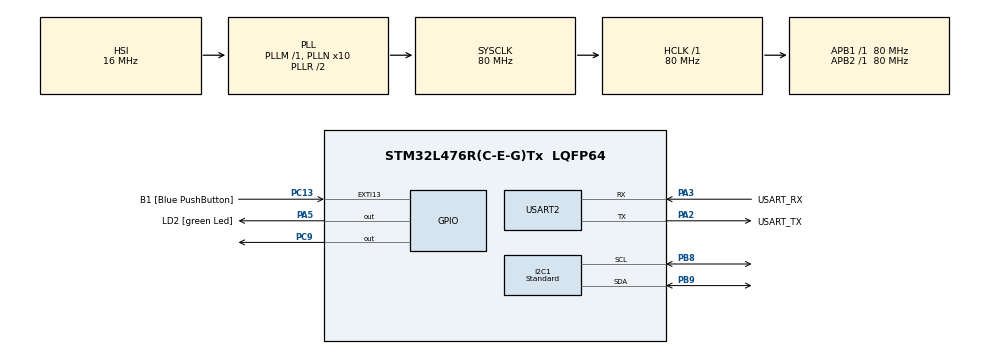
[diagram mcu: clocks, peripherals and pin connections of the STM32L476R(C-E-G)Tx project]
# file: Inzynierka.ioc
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I2C1.I2C_Speed_Mode=I2C_Standard
I2C1.Speed=60
I2C1.Timing=0x2060B8FE
Mcu.Family=STM32L4
Mcu.Name=STM32L476R(C-E-G)Tx
Mcu.Package=LQFP64
NVIC.PriorityGroup=NVIC_PRIORITYGROUP_4
NVIC.USART2_IRQn=true\:0\:0\:false\:false\:true\:true\:true\:true
PA13\ (JTMS-SWDIO).GPIO_Label=TMS
PA13\ (JTMS-SWDIO).Mode=Serial_Wire
PA13\ (JTMS-SWDIO).Signal=SYS_JTMS-SWDIO
PA14\ (JTCK-SWCLK).GPIO_Label=TCK
PA14\ (JTCK-SWCLK).Mode=Serial_Wire
PA14\ (JTCK-SWCLK).Signal=SYS_JTCK-SWCLK
PA2.GPIO_Label=USART_TX
PA2.GPIO_Mode=GPIO_MODE_AF_PP
PA2.GPIO_PuPd=GPIO_NOPULL
PA2.GPIO_Speed=GPIO_SPEED_FREQ_VERY_HIGH
PA2.Mode=Asynchronous
PA2.Signal=USART2_TX
PA3.GPIO_Label=USART_RX
PA3.GPIO_Mode=GPIO_MODE_AF_PP
PA3.GPIO_PuPd=GPIO_NOPULL
PA3.GPIO_Speed=GPIO_SPEED_FREQ_VERY_HIGH
PA3.Mode=Asynchronous
PA3.Signal=USART2_RX
PA5.GPIO_Label=LD2 [green Led]
PA5.GPIO_ModeDefaultOutputPP=GPIO_MODE_OUTPUT_PP
PA5.GPIO_PuPd=GPIO_NOPULL
PA5.GPIO_Speed=GPIO_SPEED_FREQ_LOW
PA5.Signal=GPIO_Output
PB3\ (JTDO-TRACESWO).GPIO_Label=SWO
PB3\ (JTDO-TRACESWO).Signal=SYS_JTDO-SWO
PB8.Mode=I2C
PB8.Signal=I2C1_SCL
PB9.Mode=I2C
PB9.Signal=I2C1_SDA
PC13.GPIO_Label=B1 [Blue PushButton]
PC13.GPIO_ModeDefaultEXTI=GPIO_MODE_IT_FALLING
PC13.GPIO_PuPd=GPIO_NOPULL
PC13.Signal=GPXTI13
PC14-OSC32_IN\ (PC14).Mode=LSE-External-Oscillator
PC14-OSC32_IN\ (PC14).Signal=RCC_OSC32_IN
PC15-OSC32_OUT\ (PC15).Mode=LSE-External-Oscillator
PC15-OSC32_OUT\ (PC15).Signal=RCC_OSC32_OUT
PC9.Signal=GPIO_Output
PH0-OSC_IN\ (PH0).Signal=RCC_OSC_IN
PH1-OSC_OUT\ (PH1).Signal=RCC_OSC_OUT
ProjectManager.HeapSize=0x200
ProjectManager.StackSize=0x400
ProjectManager.TargetToolchain=STM32CubeIDE
RCC.ADCFreq_Value=64000000
RCC.AHBFreq_Value=80000000
RCC.APB1Freq_Value=80000000
RCC.APB1TimFreq_Value=80000000
RCC.APB2Freq_Value=80000000
RCC.APB2TimFreq_Value=80000000
RCC.CortexFreq_Value=80000000
RCC.HCLKFreq_Value=80000000
RCC.HSE_VALUE=8000000
RCC.HSI_VALUE=16000000
RCC.MSI_VALUE=4000000
RCC.PLLN=10
RCC.PLLSourceVirtual=RCC_PLLSOURCE_HSI
RCC.PREFETCH_ENABLE=1
RCC.SYSCLKFreq_VALUE=80000000
RCC.SYSCLKSource=RCC_SYSCLKSOURCE_PLLCLK
RCC.USBFreq_Value=64000000
RCC.VCOOutputFreq_Value=160000000
USART2.VirtualMode-Asynchronous=VM_ASYNC
board=NUCLEO-L476RG

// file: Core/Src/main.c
/* USER CODE BEGIN Header */
/**
  ******************************************************************************
  * @file           : main.c
  * @brief          : Main program body
  ******************************************************************************
  * @attention
  *
  * Copyright (c) 2024 STMicroelectronics.
  * All rights reserved.
  *
  * This software is licensed under terms that can be found in the LICENSE file
  * in the root directory of this software component.
  * If no LICENSE file comes with the this file, it is provided AS-IS.
  *
  ******************************************************************************
  */
/* USER CODE END Header */
#include "main.h"
#include "i2c.h"
#include "usart.h"
#include "gpio.h"

/* USER CODE BEGIN Includes */
#include <stdio.h>
#include "vl53l5cx_api.h"
#include "platform.h"
/* USER CODE END Includes */

/* USER CODE BEGIN PD */
#define VL53L5CX_DEFAULT_ADDRESS 0x30
/* USER CODE END PD */

/* USER CODE BEGIN PV */
VL53L5CX_Configuration dev;
VL53L5CX_ResultsData results;
uint8_t sensor_address = 0x31; // New address for the sensor
/* USER CODE END PV */

void SystemClock_Config(void);
/* USER CODE BEGIN PFP */
void Scan_I2C_Devices();
void Initialize_Sensor(void);
void ProcessData(VL53L5CX_ResultsData *results);
/* USER CODE END PFP */

/* USER CODE BEGIN 0 */

int _write(int file, char* ptr, int len){
    HAL_UART_Transmit(&huart2, (uint8_t *)ptr, len, HAL_MAX_DELAY);
    return len;
}

/* USER CODE END 0 */

int main(void)
{

  /* MCU Configuration--------------------------------------------------------*/

  /* Reset of all peripherals, Initializes the Flash interface and the Systick. */
  HAL_Init();

  /* Configure the system clock */
  SystemClock_Config();

  /* Initialize all configured peripherals */
  MX_GPIO_Init();
  MX_USART2_UART_Init();
  MX_I2C1_Init();
  /* USER CODE BEGIN 2 */

  // Test UART
  printf("UART działa poprawnie\r\n");

  Scan_I2C_Devices();

  // Initialize the sensor
  Initialize_Sensor();

  // Start measurements for the sensor
  printf("Rozpoczynanie pomiarów...\r\n");
  int status = vl53l5cx_start_ranging(&dev);
  if (status == VL53L5CX_STATUS_OK) {
      printf("Pomiary rozpoczęte pomyślnie\r\n");
  } else {
      printf("Błąd rozpoczynania pomiarów, kod błędu: %d\r\n", status);
  }

  /* USER CODE END 2 */

  /* Infinite loop */
  /* USER CODE BEGIN WHILE */
  while (1)
  {
    uint8_t isReady;
    if (vl53l5cx_check_data_ready(&dev, &isReady) == VL53L5CX_STATUS_OK && isReady) {
        vl53l5cx_get_ranging_data(&dev, &results);
        ProcessData(&results);
    } else {
        printf("Czujnik nie ma nowych danych do odczytu\r\n");
    }
    HAL_Delay(5000);
    /* USER CODE END WHILE */

  }
}

void SystemClock_Config(void)
{
  RCC_OscInitTypeDef RCC_OscInitStruct = {0};
  RCC_ClkInitTypeDef RCC_ClkInitStruct = {0};

  /** Configure the main internal regulator output voltage
  */
  if (HAL_PWREx_ControlVoltageScaling(PWR_REGULATOR_VOLTAGE_SCALE1) != HAL_OK)
  {
    Error_Handler();
  }

  /** Initializes the RCC Oscillators according to the specified parameters
  * in the RCC_OscInitTypeDef structure.
  */
  RCC_OscInitStruct.OscillatorType = RCC_OSCILLATORTYPE_HSI;
  RCC_OscInitStruct.HSIState = RCC_HSI_ON;
  RCC_OscInitStruct.HSICalibrationValue = RCC_HSICALIBRATION_DEFAULT;
  RCC_OscInitStruct.PLL.PLLState = RCC_PLL_ON;
  RCC_OscInitStruct.PLL.PLLSource = RCC_PLLSOURCE_HSI;
  RCC_OscInitStruct.PLL.PLLM = 1;
  RCC_OscInitStruct.PLL.PLLN = 10;
  RCC_OscInitStruct.PLL.PLLP = RCC_PLLP_DIV7;
  RCC_OscInitStruct.PLL.PLLQ = RCC_PLLQ_DIV2;
  RCC_OscInitStruct.PLL.PLLR = RCC_PLLR_DIV2;
  if (HAL_RCC_OscConfig(&RCC_OscInitStruct) != HAL_OK)
  {
    Error_Handler();
  }

  /** Initializes the CPU, AHB and APB buses clocks
  */
  RCC_ClkInitStruct.ClockType = RCC_CLOCKTYPE_HCLK|RCC_CLOCKTYPE_SYSCLK
                              |RCC_CLOCKTYPE_PCLK1|RCC_CLOCKTYPE_PCLK2;
  RCC_ClkInitStruct.SYSCLKSource = RCC_SYSCLKSOURCE_PLLCLK;
  RCC_ClkInitStruct.AHBCLKDivider = RCC_SYSCLK_DIV1;
  RCC_ClkInitStruct.APB1CLKDivider = RCC_HCLK_DIV1;
  RCC_ClkInitStruct.APB2CLKDivider = RCC_HCLK_DIV1;

  if (HAL_RCC_ClockConfig(&RCC_ClkInitStruct, FLASH_LATENCY_4) != HAL_OK)
  {
    Error_Handler();
  }
}

/* USER CODE BEGIN 4 */
void ProcessData(VL53L5CX_ResultsData *results) {
    printf("Sensor:\n\r");
    for (int i = 0; i < 16; i += 4) { // Displaying 4 measurements per line
        printf("Distance %d-%d: %d mm, %d mm, %d mm, %d mm\n\r",
               i, i+3,
               results->distance_mm[i],
               results->distance_mm[i+1],
               results->distance_mm[i+2],
               results->distance_mm[i+3]);
    }
}

void Initialize_Sensor(void) {
    uint8_t status;
    uint8_t is_alive = 0;

    for (int attempts = 0; attempts < 3; attempts++) {
        printf("Inicjalizacja czujnika, próba %d...\r\n", attempts + 1);

        // Reset I2C from sensor library
        VL53L5CX_Reset_Sensor(&dev.platform);

        dev.platform.address = VL53L5CX_DEFAULT_ADDRESS << 1;

        // Check if sensor is alive at default address
        status = vl53l5cx_is_alive(&dev, &is_alive);
        printf("Status czujnika (domyślny adres): %d, is_alive: %d\r\n", status, is_alive);

        if (status == VL53L5CX_STATUS_OK && is_alive) {
            // Change sensor I2C address
            status = vl53l5cx_set_i2c_address(&dev, sensor_address << 1);
            if (status == VL53L5CX_STATUS_OK) {
                dev.platform.address = sensor_address << 1;
                printf("Adres I2C czujnika zmieniony na 0x%02X\r\n", sensor_address);
            } else {
                printf("Błąd ustawienia adresu dla czujnika, kod błędu: %d\r\n", status);
                continue;
            }

            // Check if sensor is alive at new address
            status = vl53l5cx_is_alive(&dev, &is_alive);
            printf("Status czujnika (nowy adres): %d, is_alive: %d\r\n", status, is_alive);
            if (status != VL53L5CX_STATUS_OK || !is_alive) {
                printf("Czujnik nie jest żywy po zmianie adresu, status: %d, is_alive: %d\r\n", status, is_alive);
                continue;
            }

            // Initialize sensor
            status = vl53l5cx_init(&dev);
            if (status == VL53L5CX_STATUS_OK) {
                printf("Czujnik zainicjalizowany z adresem 0x%02X\r\n", sensor_address);
                break; // Initialization successful, break the loop
            } else {
                printf("Błąd inicjalizacji czujnika, kod błędu: %d\r\n", status);
            }
        } else {
            printf("Czujnik nie jest żywy przy domyślnym adresie, status: %d, is_alive: %d\r\n", status, is_alive);
        }

        // Delay before retrying
        HAL_Delay(1000);
    }
}

void Scan_I2C_Devices() {
    printf("Skanowanie urządzeń I2C...\r\n");
    HAL_StatusTypeDef result;
    uint8_t i;
    for (i = 1; i < 128; i++) {
        result = HAL_I2C_IsDeviceReady(&hi2c1, (uint16_t)(i << 1), 3, 5);
        if (result == HAL_OK) {
            printf("Urządzenie znalezione pod adresem: 0x%02X\r\n", i);
        }
    }
    printf("Skanowanie zakończone.\r\n");
}

/* USER CODE END 4 */

void Error_Handler(void)
{
  __disable_irq();
  while (1)
  {
  }
}
